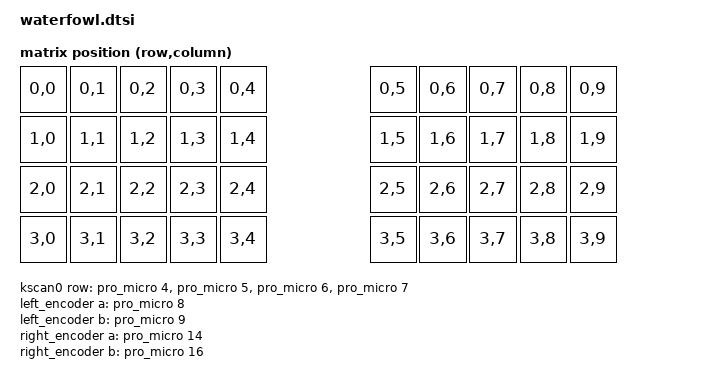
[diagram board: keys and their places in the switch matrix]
/*
 * Copyright (c) 2022 The ZMK Contributors
 *
 * SPDX-License-Identifier: MIT
 */

#include <dt-bindings/zmk/matrix_transform.h>
#include <nordic/nrf52840_qiaa.dtsi>
#include "arduino_pro_micro_pins.dtsi"

/ {
    chosen {
        zephyr,display = &st7789v_st7789v_tl019fqv01;
        zmk,kscan = &kscan0;
        zmk,matrix_transform = &default_transform;
    };

    default_transform: keymap_transform_0 {
        compatible = "zmk,matrix-transform";
        columns = <16>;
        rows = <4>;
// | MX5  | MX4  | MX3  | MX2  | MX1  |                                 | MX1  | MX2  | MX3  | MX4  | MX5  |
// | MX10 | MX9  | MX8  | MX7  | MX6  |                                 | MX6  | MX7  | MX8  | MX9  | MX10 |
// | MX15 | MX14 | MX13 | MX12 | MX11 |                                 | MX11 | MX12 | MX13 | MX14 | MX15 |
// | MX20 | MX19 | MX18 | MX17 | MX16 |                                 | MX16 | MX17 | MX18 | MX19 | MX20 |
        map = <
RC(0,0) RC(0,1) RC(0,2) RC(0,3) RC(0,4)                                 RC(0,5) RC(0,6) RC(0,7) RC(0,8) RC(0,9)
RC(1,0) RC(1,1) RC(1,2) RC(1,3) RC(1,4)                                 RC(1,5) RC(1,6) RC(1,7) RC(1,8) RC(1,9)
RC(2,0) RC(2,1) RC(2,2) RC(2,3) RC(2,4)                                 RC(2,5) RC(2,6) RC(2,7) RC(2,8) RC(2,9)
RC(3,0) RC(3,1) RC(3,2) RC(3,3) RC(3,4)                                 RC(3,5) RC(3,6) RC(3,7) RC(3,8) RC(3,9)
        >;
    };

    kscan0: kscan {
        compatible = "zmk,kscan-gpio-matrix";
        label = "KSCAN";

        diode-direction = "col2row";
        row-gpios
            = <&pro_micro 4 (GPIO_ACTIVE_HIGH | GPIO_PULL_DOWN)>
            , <&pro_micro 5 (GPIO_ACTIVE_HIGH | GPIO_PULL_DOWN)>
            , <&pro_micro 6 (GPIO_ACTIVE_HIGH | GPIO_PULL_DOWN)>
            , <&pro_micro 7 (GPIO_ACTIVE_HIGH | GPIO_PULL_DOWN)>
            ;

    };

    left_encoder: encoder_left {    //roller
        compatible = "alps,ec11";
        label = "LEFT_ENCODER";
        a-gpios = <&pro_micro 8 (GPIO_ACTIVE_HIGH | GPIO_PULL_UP)>;
        b-gpios = <&pro_micro 9 (GPIO_ACTIVE_HIGH | GPIO_PULL_UP)>;
        resolution = <4>;
    };

    right_encoder: encoder_right {  //Standard encoder on left half
        compatible = "alps,ec11";
        label = "RIGHT_ENCODER";
        a-gpios = <&pro_micro 14 (GPIO_ACTIVE_HIGH | GPIO_PULL_UP)>;
        b-gpios = <&pro_micro 16 (GPIO_ACTIVE_HIGH | GPIO_PULL_UP)>;
        resolution = <2>;
    };

    sensors {
        compatible = "zmk,keymap-sensors";
        sensors = <&left_encoder &right_encoder>;
    };

    // TODO: RGB node(s)

    &arduino_spi {
        status = "okay";
        cs-gpios = <&arduino_header 16 GPIO_ACTIVE_LOW>;	/* D10 */

        st7789v_st7789v_tl019fqv01: st7789v@0 {
            compatible = "sitronix,st7789v";
            spi-max-frequency = <20000000>;
            reg = <0>;
            cmd-data-gpios = <&arduino_header 15 GPIO_ACTIVE_LOW>;	/* D9 */
            reset-gpios = <&arduino_header 14 GPIO_ACTIVE_LOW>;	/* D8 */
            width = <320>;
            height = <170>;
            x-offset = <0>;
            y-offset = <35>;
            vcom = <0x2b>;
            gctrl = <0x35>;
            vrhs = <0x0f>;
            vdvs = <0x20>;
            mdac = <0x60>;
            gamma = <0x01>;
            colmod = <0x55>;
            lcm = <0x2c>;
            porch-param = [0c 0c 00 33 33];
            cmd2en-param = [5a 69 02 01];
            pwctrl1-param = [52 a1];
            pvgam-param = [D0 00 02 07 0B 1A 31 54 40 29 12 12 12 17];
            nvgam-param = [D0 00 02 07 05 15 2D 44 44 1C 18 16 1C 1D];
            ram-param = [00 F8];
            rgb-param = [CD 08 14];
        };
    };
};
